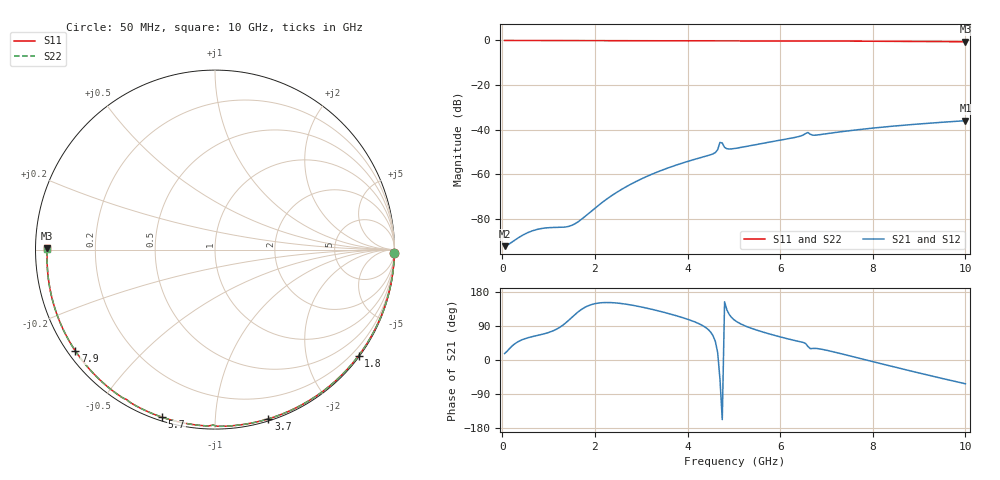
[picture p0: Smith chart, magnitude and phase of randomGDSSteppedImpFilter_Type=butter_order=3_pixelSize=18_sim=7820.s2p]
! freq	dB(S11)	phase(S11)	dB(S12)	phase(S12)
!  dB(S21)	phase(S21)	dB(S22)	phase(S22)
!S-par simulation data
#  GHz  S  DB  R 50
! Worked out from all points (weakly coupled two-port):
!   200 points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, 50 MHz to 10 GHz, reference 50 ohm
!   highest |S21| = -35.95 dB at 10 GHz (marker M1); lowest = -92.2 dB at 50 MHz (marker M2)
!   lowest |S11| = -0.6 dB at 10 GHz (marker M3), VSWR 29.37, Z = 1.7 + j0.171 ohm
!   |S11| at or under -10 dB: nowhere
!   |S22| runs from -0.6 to 0.0 dB; largest |S21 - S12| = 0
!   S11 on the Smith chart (normalised r, x): 50 MHz: open; 1.8 GHz: 0.03, -3.04; 3.7 GHz: 0.02, -1.36; 5.7 GHz: 0.02, -0.73; 7.9 GHz: 0.02, -0.32; 10 GHz: 0.03, +0.00
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0.05  -0.00 -1.0  -92.17 17.1  -92.17 17.1  -0.00 -1.0
0.85  -0.02 -17.4  -84.24 67.4  -84.24 67.4  -0.02 -17.4
1.75  -0.05 -35.4  -79.49 136.6  -79.49 136.6  -0.05 -35.4
1.8  -0.05 -36.4  -78.63 140.0  -78.63 140.0  -0.05 -36.4
2.55  -0.07 -51.0  -67.05 149.3  -67.05 149.3  -0.07 -50.9
3.4  -0.09 -67.0  -58.51 128.7  -58.51 128.7  -0.09 -66.9
3.7  -0.10 -72.5  -56.23 118.9  -56.23 118.9  -0.10 -72.4
4.55  -0.13 -87.8  -50.81 64.2  -50.81 64.2  -0.13 -87.7
4.65  -0.15 -89.7  -48.96 20.1  -48.96 20.1  -0.15 -89.6
4.7  -0.19 -90.6  -45.68 -49.7  -45.68 -49.7  -0.19 -90.5
4.75  -0.19 -90.9  -45.96 -157.3  -45.96 -157.3  -0.19 -90.9
4.8  -0.15 -91.9  -47.92 153.6  -47.92 153.6  -0.15 -91.8
4.85  -0.15 -92.8  -48.51 132.2  -48.51 132.2  -0.15 -92.7
5.05  -0.15 -96.3  -48.31 102.2  -48.31 102.2  -0.15 -96.3
5.7  -0.18 -107.5  -45.81 71.2  -45.81 71.2  -0.18 -107.4
6.4  -0.23 -119.3  -43.06 49.1  -43.06 49.1  -0.23 -119.2
6.6  -0.24 -122.4  -41.26 35.7  -41.26 35.7  -0.24 -122.3
6.7  -0.24 -124.1  -42.44 30.4  -42.44 30.4  -0.24 -124.0
7.9  -0.34 -144.0  -39.49 -1.2  -39.49 -1.2  -0.34 -143.9
8.35  -0.39 -151.5  -38.56 -14.9  -38.56 -14.9  -0.39 -151.4
9.2  -0.49 -166.1  -37.11 -40.1  -37.11 -40.1  -0.49 -165.9
10  -0.59 179.6  -35.95 -62.7  -35.95 -62.7  -0.59 179.7
